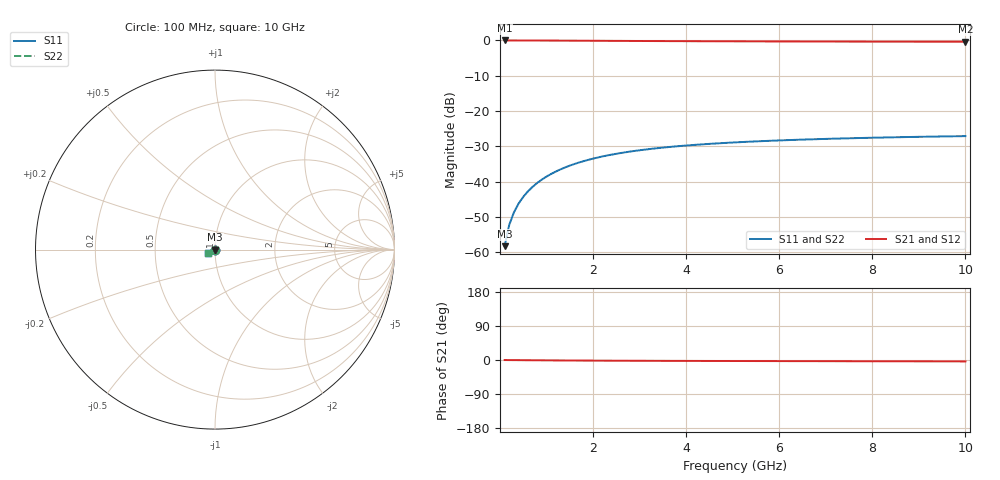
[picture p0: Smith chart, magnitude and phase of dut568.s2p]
! Touchstone file exported from HFSS 2024.1.0
!  File:  C:/UserFiles/LocalFiles/RDL_TSV_Batchsim/temp_TSV1_568_1779707970.aedt
!  Generated:  07:25:17 PM May 25, 2026
!  Design:  TSV1
!  Project:  temp_TSV1_568_1779707970
!  Setup:  Setup1
!  Solution:  Sweep
! Variables:
!  dtsv = 14.31um
!  hbump = 3um
!  htsv = 53.37um
!  lrdl = 252.1521522um
!  p = 40
!  p1 = 45.98um
!  t = 500um
!  trdl = 3um
!  wrdl = 24.89489489um
# GHz S MA R 50.000000
! Terminal data exported
! Port[1] = TSV22_T1
! Port[2] = TSV22_T2
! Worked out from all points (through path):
!   100 points, 100 MHz to 10 GHz, reference 50 ohm
!   highest |S21| = 0.00 dB at 100 MHz (marker M1); lowest = -0.4 dB at 10 GHz (marker M2)
!   lowest |S11| = -58.2 dB at 100 MHz (marker M3), VSWR 1.00, Z = 50 - j0.122 ohm
!   |S11| at or under -10 dB: start of sweep to end of sweep
!   |S22| runs from -58.2 to -27.1 dB; largest |S21 - S12| = 4.6e-15
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0.1  0.001223 -88.4  0.9999 -0.1  0.9999 -0.1  0.001223 -88.4
! Gamma 0 0 0 0
! Port Impedance 50 0 50 0
0.2  0.002458 -91.5  0.9998 -0.2  0.9998 -0.2  0.002458 -91.5
0.3  0.003684 -93.7  0.9996 -0.3  0.9996 -0.3  0.003684 -93.7
0.4  0.004899 -95.6  0.9994 -0.4  0.9994 -0.4  0.004899 -95.6
0.5  0.006101 -97.3  0.999 -0.5  0.999 -0.5  0.006101 -97.3
0.6  0.007287 -99.0  0.9987 -0.6  0.9987 -0.6  0.007287 -99.0
0.7  0.008454 -100.6  0.9982 -0.7  0.9982 -0.7  0.008454 -100.6
0.8  0.0096 -102.2  0.9977 -0.8  0.9977 -0.8  0.0096 -102.2
0.9  0.01072 -103.7  0.9972 -0.9  0.9972 -0.9  0.01072 -103.7
1.1  0.01289 -106.7  0.996 -1.0  0.996 -1.0  0.01289 -106.7
1.4  0.01594 -110.9  0.994 -1.2  0.994 -1.2  0.01594 -110.9
1.6  0.01782 -113.6  0.9926 -1.4  0.9926 -1.4  0.01782 -113.6
1.8  0.01959 -116.1  0.9911 -1.5  0.9911 -1.5  0.01959 -116.1
2.1  0.02201 -119.5  0.9889 -1.7  0.9889 -1.7  0.02201 -119.5
2.5  0.02486 -123.7  0.986 -1.9  0.986 -1.9  0.02486 -123.7
2.9  0.02732 -127.4  0.9833 -2.0  0.9833 -2.0  0.02732 -127.4
3.4  0.02994 -131.3  0.9801 -2.2  0.9801 -2.2  0.02994 -131.3
4.2  0.03329 -136.6  0.9757 -2.5  0.9757 -2.5  0.03329 -136.6
5.1  0.03618 -141.3  0.9717 -2.7  0.9717 -2.7  0.03618 -141.3
6.7  0.03985 -147.5  0.9662 -3.0  0.9662 -3.0  0.03985 -147.5
8.4  0.04248 -152.3  0.9621 -3.4  0.9621 -3.4  0.04248 -152.3
10  0.04423 -155.8  0.9594 -3.7  0.9594 -3.7  0.04423 -155.8
